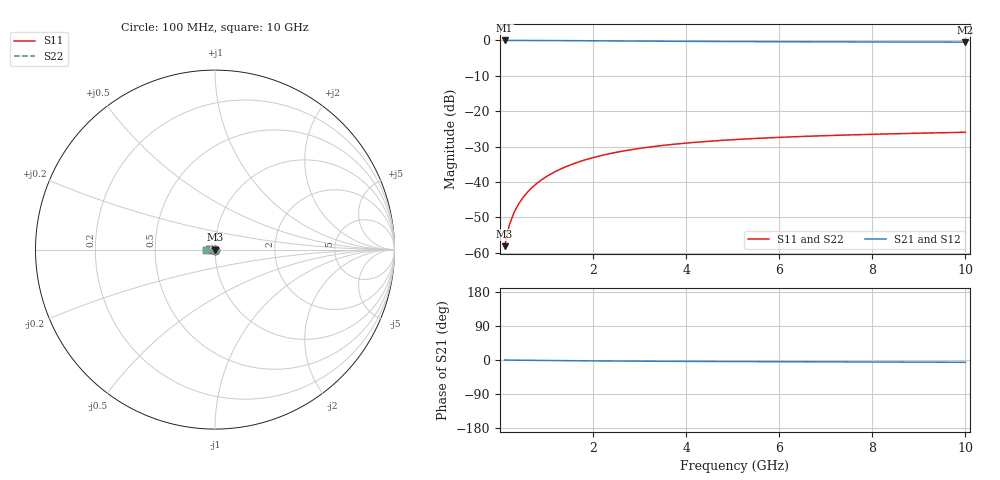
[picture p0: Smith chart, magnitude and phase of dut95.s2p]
! Touchstone file exported from HFSS 2024.1.0
!  File:  C:/UserFiles/LocalFiles/RDL_TSV_Batchsim/temp_TSV1_95_1779376426.aedt
!  Generated:  11:19:46 PM May 21, 2026
!  Design:  TSV1
!  Project:  temp_TSV1_95_1779376426
!  Setup:  Setup1
!  Solution:  Sweep
! Variables:
!  dtsv = 8.33um
!  hbump = 3um
!  htsv = 96.51um
!  lrdl = 252.1521522um
!  p = 40
!  p1 = 43.25um
!  t = 500um
!  trdl = 3um
!  wrdl = 24.89489489um
# GHz S MA R 50.000000
! Terminal data exported
! Port[1] = TSV22_T1
! Port[2] = TSV22_T2
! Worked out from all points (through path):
!   100 points, 100 MHz to 10 GHz, reference 50 ohm
!   highest |S21| = 0.00 dB at 100 MHz (marker M1); lowest = -0.5 dB at 10 GHz (marker M2)
!   lowest |S11| = -58.2 dB at 100 MHz (marker M3), VSWR 1.00, Z = 50 - j0.122 ohm
!   |S11| at or under -10 dB: start of sweep to end of sweep
!   |S22| runs from -58.2 to -26.0 dB; largest |S21 - S12| = 1.8e-15
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0.1  0.001235 -80.5  0.9997 -0.1  0.9997 -0.1  0.001235 -80.5
! Gamma 0 0 0 0
! Port Impedance 50 0 50 0
0.2  0.002442 -87.4  0.9996 -0.3  0.9996 -0.3  0.002442 -87.4
0.3  0.003658 -90.9  0.9994 -0.4  0.9994 -0.4  0.003658 -90.9
0.4  0.00487 -93.5  0.9992 -0.5  0.9992 -0.5  0.00487 -93.5
0.5  0.006076 -95.7  0.9988 -0.7  0.9988 -0.7  0.006076 -95.7
0.6  0.00727 -97.7  0.9984 -0.8  0.9984 -0.8  0.00727 -97.7
0.7  0.008452 -99.6  0.998 -0.9  0.998 -0.9  0.008452 -99.6
0.8  0.00962 -101.4  0.9975 -1.0  0.9975 -1.0  0.00962 -101.4
0.9  0.01077 -103.1  0.997 -1.1  0.997 -1.1  0.01077 -103.1
1.1  0.01302 -106.5  0.9957 -1.4  0.9957 -1.4  0.01302 -106.5
1.4  0.01624 -111.3  0.9935 -1.7  0.9935 -1.7  0.01624 -111.3
1.6  0.01827 -114.3  0.9919 -1.9  0.9919 -1.9  0.01827 -114.3
1.8  0.0202 -117.2  0.9902 -2.1  0.9902 -2.1  0.0202 -117.2
2.1  0.02291 -121.4  0.9875 -2.4  0.9875 -2.4  0.02291 -121.4
2.5  0.02619 -126.6  0.9838 -2.7  0.9838 -2.7  0.02619 -126.6
2.9  0.02908 -131.5  0.9802 -3.0  0.9802 -3.0  0.02908 -131.5
3.4  0.03222 -137.0  0.9759 -3.3  0.9759 -3.3  0.03222 -137.0
4.2  0.0363 -144.8  0.9698 -3.7  0.9698 -3.7  0.0363 -144.8
5.1  0.03985 -152.3  0.964 -4.2  0.964 -4.2  0.03985 -152.3
6.7  0.0444 -163.2  0.9564 -4.8  0.9564 -4.8  0.0444 -163.2
8.4  0.04781 -172.5  0.9509 -5.4  0.9509 -5.4  0.04781 -172.5
10  0.05034 -179.9  0.9472 -6.0  0.9472 -6.0  0.05034 -179.9
